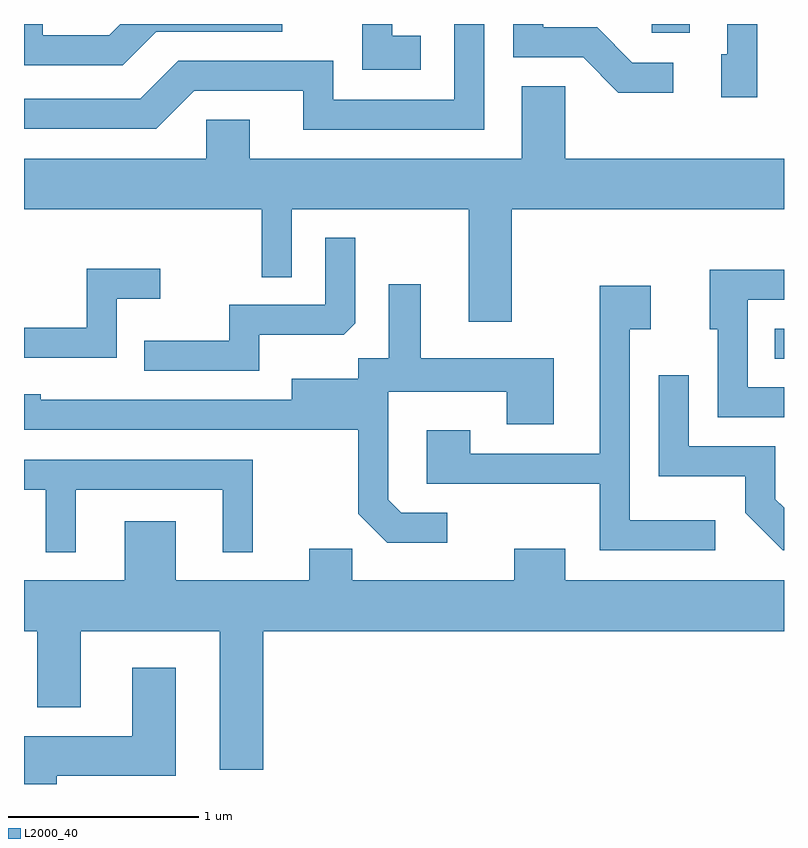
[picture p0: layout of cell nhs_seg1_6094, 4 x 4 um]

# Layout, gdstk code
import gdstk
lib = gdstk.Library(unit=1e-6, precision=1e-09)
def R(c, l, rs):  # rectangles x0, y0, x1, y1
    for r in rs: c.add(gdstk.rectangle(r[:2], r[2:], *l))
def P(c, l, *ps):  # polygons
    for p in ps: c.add(gdstk.Polygon(p, *l))
L2000_40 = (2000, 40)

nhs_seg1_6094 = lib.new_cell('nhs_seg1_6094')
R(nhs_seg1_6094, L2000_40, [(373.563,849.951,373.611,850.109), (372.916,851.666,373.114,851.712)])
P(nhs_seg1_6094, L2000_40, [(373.028,851.509),(372.812,851.509),(372.627,851.694),(372.344,851.694),(372.344,851.712),(372.186,851.712),(372.186,851.536),(372.554,851.536),(372.739,851.351),(373.028,851.351)],
  [(373.469,851.712),(373.311,851.712),(373.311,851.554),(373.281,851.554),(373.281,851.326),(373.469,851.326)],
  [(372.034,851.712),(371.876,851.712),(371.876,851.314),(371.239,851.314),(371.239,851.519),(370.424,851.519),(370.224,851.319),(369.611,851.319),(369.611,851.161),(370.307,851.161),(370.507,851.361),(371.081,851.361),(371.081,851.156),(372.034,851.156)],
  [(370.307,851.671),(370.969,851.671),(370.969,851.712),(370.117,851.712),(370.059,851.654),(369.709,851.654),(369.709,851.712),(369.611,851.712),(369.611,851.496),(370.132,851.496)],
  [(371.699,851.649),(371.549,851.649),(371.549,851.712),(371.391,851.712),(371.391,851.471),(371.699,851.471)],
  [(372.179,850.736),(373.611,850.736),(373.611,851.004),(372.459,851.004),(372.459,851.384),(372.231,851.384),(372.231,851.004),(370.799,851.004),(370.799,851.209),(370.571,851.209),(370.571,851.004),(369.611,851.004),(369.611,850.736),(370.861,850.736),(370.861,850.378),(371.019,850.378),(371.019,850.736),(371.951,850.736),(371.951,850.146),(372.179,850.146)],
  [(370.849,850.076),(371.294,850.076),(371.354,850.137),(371.354,850.588),(371.196,850.588),(371.196,850.234),(370.691,850.234),(370.691,850.044),(370.243,850.044),(370.243,849.886),(370.849,849.886)],
  [(370.099,850.266),(370.328,850.266),(370.328,850.424),(369.941,850.424),(369.941,850.114),(369.611,850.114),(369.611,849.956),(370.099,849.956)],
  [(373.611,849.799),(373.419,849.799),(373.419,850.261),(373.611,850.261),(373.611,850.419),(373.221,850.419),(373.221,850.106),(373.261,850.106),(373.261,849.641),(373.611,849.641)],
  [(371.838,849.139),(371.597,849.139),(371.529,849.207),(371.529,849.776),(372.151,849.776),(372.151,849.606),(372.399,849.606),(372.399,849.954),(371.699,849.954),(371.699,850.343),(371.531,850.343),(371.531,849.954),(371.371,849.954),(371.371,849.844),(371.021,849.844),(371.021,849.734),(369.699,849.734),(369.699,849.764),(369.611,849.764),(369.611,849.576),(371.371,849.576),(371.371,849.134),(371.524,848.981),(371.838,848.981)],
  [(373.248,849.099),(372.799,849.099),(372.799,850.106),(372.909,850.106),(372.909,850.334),(372.641,850.334),(372.641,849.449),(371.959,849.449),(371.959,849.574),(371.731,849.574),(371.731,849.291),(372.641,849.291),(372.641,848.941),(373.248,848.941)],
  [(373.611,849.165),(373.564,849.212),(373.564,849.489),(373.109,849.489),(373.109,849.863),(372.951,849.863),(372.951,849.331),(373.406,849.331),(373.406,849.139),(373.604,848.941),(373.611,848.941)],
  [(369.884,849.261),(370.656,849.261),(370.656,848.933),(370.814,848.933),(370.814,849.419),(369.611,849.419),(369.611,849.261),(369.726,849.261),(369.726,848.933),(369.884,848.933)],
  [(370.869,848.516),(373.611,848.516),(373.611,848.784),(372.459,848.784),(372.459,848.949),(372.191,848.949),(372.191,848.784),(371.339,848.784),(371.339,848.949),(371.111,848.949),(371.111,848.784),(370.409,848.784),(370.409,849.094),(370.141,849.094),(370.141,848.784),(369.611,848.784),(369.611,848.516),(369.681,848.516),(369.681,848.116),(369.909,848.116),(369.909,848.516),(370.641,848.516),(370.641,847.786),(370.869,847.786)],
  [(369.784,847.756),(370.409,847.756),(370.409,848.324),(370.181,848.324),(370.181,847.964),(369.611,847.964),(369.611,847.712),(369.784,847.712)])

lib.write_gds('nhs_seg1_6094.gds')
